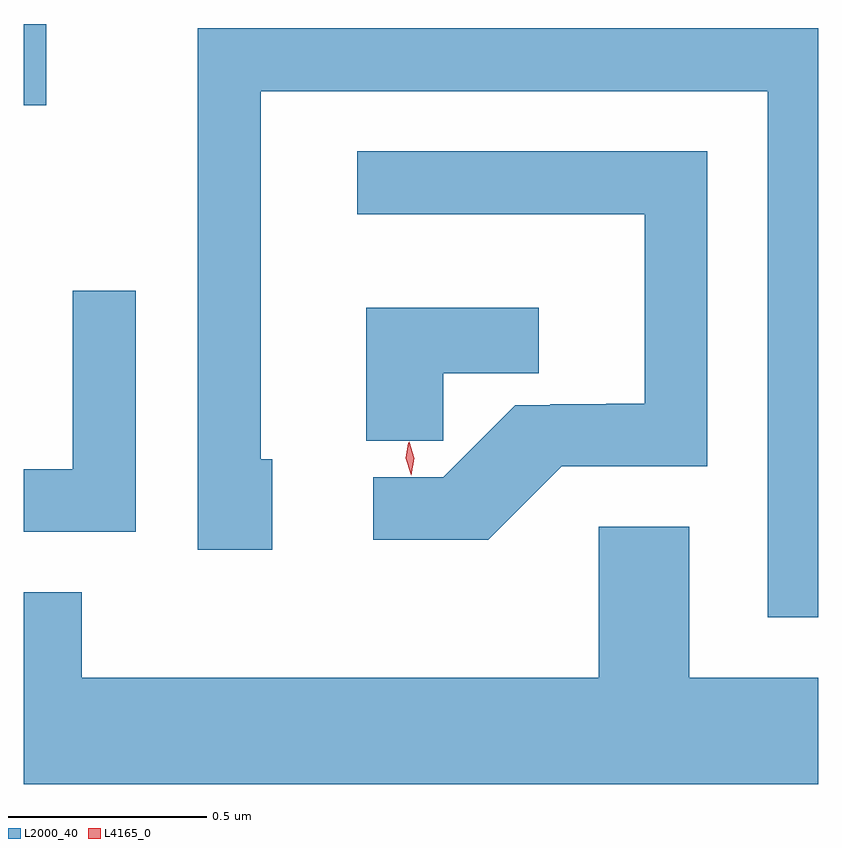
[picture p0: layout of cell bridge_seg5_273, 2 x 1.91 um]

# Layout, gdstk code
import gdstk
lib = gdstk.Library(unit=1e-6, precision=1e-09)
def R(c, l, rs):  # rectangles x0, y0, x1, y1
    for r in rs: c.add(gdstk.rectangle(r[:2], r[2:], *l))
def P(c, l, *ps):  # polygons
    for p in ps: c.add(gdstk.Polygon(p, *l))
L2000_40 = (2000, 40)
L4165_0 = (4165, 0)

bridge_seg5_273 = lib.new_cell('bridge_seg5_273')
R(bridge_seg5_273, L2000_40, [(885.313,1496.246,885.369,1496.45)])
P(bridge_seg5_273, L2000_40, [(887.313,1496.439),(885.751,1496.439),(885.751,1495.126),(885.939,1495.126),(885.939,1495.354),(885.909,1495.354),(885.909,1496.281),(887.186,1496.281),(887.186,1494.956),(887.313,1494.956)],
  [(886.667,1495.336),(887.034,1495.336),(887.034,1496.129),(886.153,1496.129),(886.153,1495.971),(886.876,1495.971),(886.876,1495.494),(886.78,1495.494),(886.78,1495.493),(886.639,1495.493),(886.639,1495.49),(886.55,1495.49),(886.369,1495.309),(886.193,1495.309),(886.193,1495.151),(886.482,1495.151)],
  [(885.594,1495.778),(885.436,1495.778),(885.436,1495.329),(885.313,1495.329),(885.313,1495.171),(885.594,1495.171)],
  [(886.369,1495.571),(886.609,1495.571),(886.609,1495.735),(886.175,1495.735),(886.175,1495.401),(886.369,1495.401)],
  [(887.313,1494.804),(886.989,1494.804),(886.989,1495.184),(886.761,1495.184),(886.761,1494.804),(885.459,1494.804),(885.459,1495.019),(885.313,1495.019),(885.313,1494.536),(887.313,1494.536)])
P(bridge_seg5_273, L4165_0, [(886.287,1495.316),(886.287,1495.317),(886.274,1495.356),(886.281,1495.396),(886.282,1495.396),(886.282,1495.396),(886.294,1495.357),(886.288,1495.317)],
  [(886.288,1495.314),(886.276,1495.356),(886.283,1495.398),(886.284,1495.398),(886.284,1495.398),(886.296,1495.357),(886.289,1495.314),(886.289,1495.314)])

lib.write_gds('bridge_seg5_273.gds')
